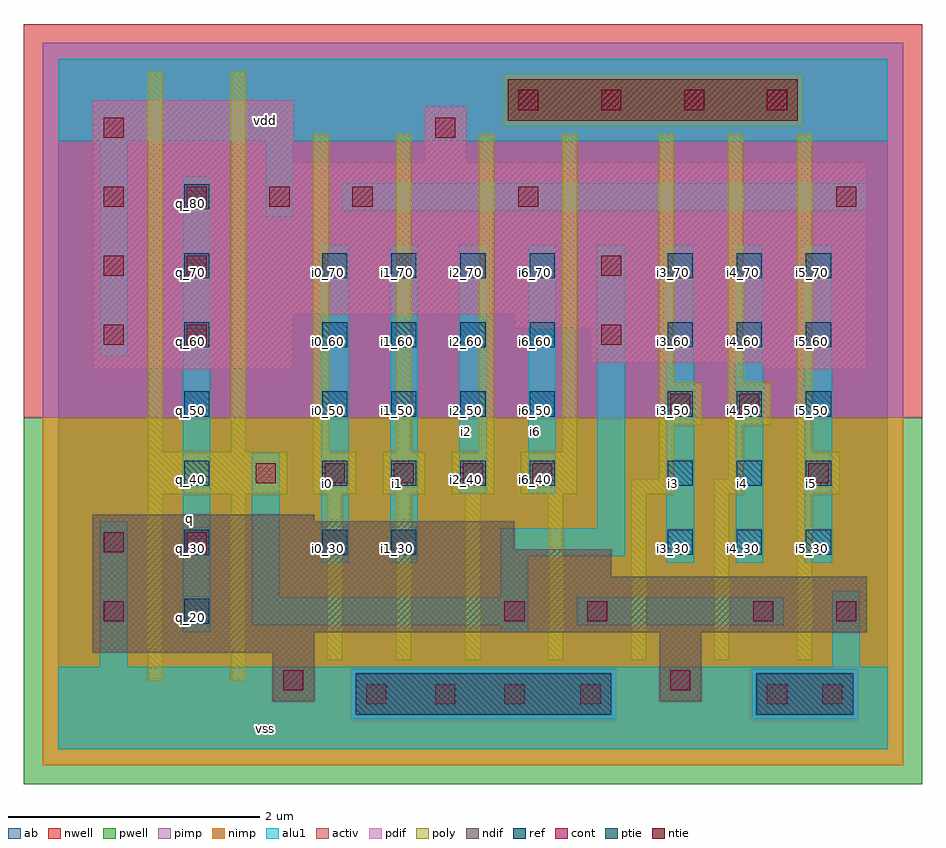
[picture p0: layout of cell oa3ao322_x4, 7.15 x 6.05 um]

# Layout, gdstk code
import gdstk
lib = gdstk.Library(unit=1e-6, precision=2.5e-09)
def R(c, l, rs):  # rectangles x0, y0, x1, y1
    for r in rs: c.add(gdstk.rectangle(r[:2], r[2:], *l))
def A(c, l, x, y, w, h, nx, ny, dx, dy):  # array of equal rectangles
    R(c, l, [(x+i*dx, y+j*dy, x+i*dx+w, y+j*dy+h) for i in range(nx) for j in range(ny)])
ndif = (3, 0)
pdif = (4, 0)
ntie = (5, 0)
ptie = (6, 0)
ref = (24, 0)
cont = (25, 0)
pwell = (41, 0)
nwell = (42, 0)
activ = (43, 0)
pimp = (44, 0)
nimp = (45, 0)
poly = (46, 0)
alu1 = (49, 0)
ab = (63, 0)

oa3ao322_x4 = lib.new_cell('oa3ao322_x4')
R(oa3ao322_x4, ndif, [(1.705,0.385,2.035,0.77), (4.785,0.385,5.115,0.935), (0.275,0.77,2.035,0.935), (0.275,0.935,6.435,1.375), (0.275,1.375,4.4,1.595), (0.275,1.595,3.63,1.815), (0.275,1.815,2.035,1.87)])
R(oa3ao322_x4, pdif, [(0.275,3.025,1.87,3.465), (5.61,3.025,6.435,3.08), (4.235,3.08,6.435,3.355), (3.63,3.355,6.435,3.465), (0.275,3.465,6.435,4.675), (0.275,4.675,1.87,5.17), (2.915,4.675,3.245,5.115)])
R(oa3ao322_x4, ntie, [(3.575,5.005,5.885,5.335)])
R(oa3ao322_x4, ptie, [(2.365,0.275,4.4,0.605), (5.555,0.275,6.325,0.605)])
A(oa3ao322_x4, ref, 1, 1, 0.2, 0.2, 1, 7, 0, 0.55)
A(oa3ao322_x4, ref, 4.85, 1.55, 0.2, 0.2, 3, 5, 0.55, 0.55)
A(oa3ao322_x4, ref, 2.1, 2.1, 0.2, 0.2, 4, 4, 0.55, 0.55)
R(oa3ao322_x4, ref, [(2.1,1.55,2.3,1.75), (2.65,1.55,2.85,1.75)])
A(oa3ao322_x4, cont, 2.45, 0.36, 0.16, 0.16, 3, 1, 0.55, 0)
A(oa3ao322_x4, cont, 1.57, 2.12, 0.16, 0.16, 5, 1, 0.55, 0)
A(oa3ao322_x4, cont, 0.36, 4.32, 0.16, 0.16, 4, 1, 0.66, 0)
A(oa3ao322_x4, cont, 3.66, 5.09, 0.16, 0.16, 4, 1, 0.66, 0)
R(oa3ao322_x4, cont, [(4.155,0.36,4.315,0.52), (5.64,0.36,5.8,0.52), (6.08,0.36,6.24,0.52), (1.79,0.47,1.95,0.63), (4.87,0.47,5.03,0.63), (0.36,1.02,0.52,1.18), (3.55,1.02,3.71,1.18), (4.21,1.02,4.37,1.18), (5.53,1.02,5.69,1.18), (6.19,1.02,6.35,1.18), (0.36,1.57,0.52,1.73), (1.02,1.57,1.18,1.73), (5.97,2.12,6.13,2.28), (4.87,2.67,5.03,2.83), (5.42,2.67,5.58,2.83), (0.36,3.22,0.52,3.38), (1.02,3.22,1.18,3.38), (4.32,3.22,4.48,3.38), (0.36,3.77,0.52,3.93), (1.02,3.77,1.18,3.93), (4.32,3.77,4.48,3.93), (3.66,4.32,3.82,4.48), (6.19,4.32,6.35,4.48), (0.36,4.87,0.52,5.03), (3,4.87,3.16,5.03)])
R(oa3ao322_x4, pwell, [(-0.275,-0.275,6.875,2.64)])
R(oa3ao322_x4, nwell, [(-0.275,2.64,6.875,5.775)])
R(oa3ao322_x4, activ, [(2.365,0.275,4.4,0.605), (5.555,0.275,6.325,0.605), (1.705,0.385,2.035,0.77), (4.785,0.385,5.115,0.935), (0.275,0.77,2.035,0.935), (0.275,0.935,6.435,1.375), (0.275,1.375,4.4,1.595), (0.275,1.595,3.63,1.815), (0.275,1.815,2.035,1.87), (0.275,3.025,1.87,3.465), (5.61,3.025,6.435,3.08), (4.235,3.08,6.435,3.355), (3.63,3.355,6.435,3.465), (0.275,3.465,6.435,4.675), (0.275,4.675,1.87,5.17), (2.915,4.675,3.245,5.115), (3.575,5.005,5.885,5.335)])
R(oa3ao322_x4, pimp, [(2.325,0.235,4.44,0.645), (5.515,0.235,6.365,0.645), (-0.125,2.64,6.725,4.965), (-0.125,4.965,3.535,5.375), (5.925,4.965,6.725,5.375), (-0.125,5.375,6.725,5.625)])
R(oa3ao322_x4, nimp, [(-0.125,-0.125,6.725,0.235), (-0.125,0.235,2.325,0.645), (4.44,0.235,5.515,0.645), (6.365,0.235,6.725,0.645), (-0.125,0.645,6.725,2.64), (3.535,4.965,5.925,5.375)])
A(oa3ao322_x4, poly, 2.14, 0.71, 0.12, 1.32, 3, 1, 0.55, 0)
A(oa3ao322_x4, poly, 3.9, 0.71, 0.12, 1.32, 4, 1, 0.66, 0)
A(oa3ao322_x4, poly, 2.03, 2.03, 0.34, 0.34, 3, 1, 0.55, 0)
A(oa3ao322_x4, poly, 2.03, 2.37, 0.12, 2.53, 4, 1, 0.66, 0)
R(oa3ao322_x4, poly, [(0.71,0.545,0.83,2.03), (1.37,0.545,1.49,2.03), (0.71,2.03,1.82,2.37), (3.68,2.03,4.13,2.37), (4.56,2.03,4.9,2.15), (5.22,2.03,5.45,2.15), (5.88,2.03,6.22,2.37), (4.78,2.15,4.9,2.58), (5.33,2.15,5.45,2.58), (0.71,2.37,0.83,5.395), (1.37,2.37,1.49,5.395), (5.88,2.37,6,4.9), (4.78,2.58,5.12,2.92), (5.33,2.58,5.67,2.92), (4.78,2.92,4.9,4.9), (5.33,2.92,5.45,4.9)])
A(oa3ao322_x4, alu1, 4.84, 1.485, 0.22, 2.53, 3, 1, 0.55, 0)
R(oa3ao322_x4, alu1, [(0,0,6.6,0.66), (0.33,0.66,0.55,1.815), (6.16,0.66,6.38,1.265), (0.99,0.935,1.21,4.565), (3.52,0.935,3.74,0.99), (1.54,0.99,3.74,1.21), (4.125,0.99,5.775,1.21), (1.54,1.21,1.76,2.365), (3.52,1.21,3.74,1.54), (2.09,1.485,2.31,4.015), (2.64,1.485,2.86,4.015), (3.52,1.54,4.51,1.76), (4.29,1.76,4.51,4.015), (3.19,2.035,3.41,4.015), (3.74,2.035,3.96,4.015), (0.33,3.135,0.55,4.84), (1.65,4.235,1.87,4.84), (2.255,4.29,6.435,4.51), (0,4.84,6.6,5.5)])
R(oa3ao322_x4, ab, [(0,0,6.6,5.5)])
oa3ao322_x4.add(gdstk.Label('vss', (1.65,0.165), layer=49, texttype=0))
oa3ao322_x4.add(gdstk.Label('i5', (5.995,2.1175), layer=49, texttype=0))
oa3ao322_x4.add(gdstk.Label('i4', (5.445,2.1175), layer=49, texttype=0))
oa3ao322_x4.add(gdstk.Label('i3', (4.895,2.1175), layer=49, texttype=0))
oa3ao322_x4.add(gdstk.Label('i6', (3.795,2.53), layer=49, texttype=0))
oa3ao322_x4.add(gdstk.Label('i2', (3.245,2.53), layer=49, texttype=0))
oa3ao322_x4.add(gdstk.Label('i1', (2.695,2.1175), layer=49, texttype=0))
oa3ao322_x4.add(gdstk.Label('i0', (2.145,2.1175), layer=49, texttype=0))
oa3ao322_x4.add(gdstk.Label('q', (1.045,1.8425), layer=49, texttype=0))
oa3ao322_x4.add(gdstk.Label('vdd', (1.65,5.005), layer=49, texttype=0))
oa3ao322_x4.add(gdstk.Label('i6_70', (3.8,3.8), layer=24, texttype=0))
oa3ao322_x4.add(gdstk.Label('i1_30', (2.7,1.6), layer=24, texttype=0))
oa3ao322_x4.add(gdstk.Label('i1_40', (2.7,2.15), layer=24, texttype=0))
oa3ao322_x4.add(gdstk.Label('i1_50', (2.7,2.7), layer=24, texttype=0))
oa3ao322_x4.add(gdstk.Label('i1_60', (2.7,3.25), layer=24, texttype=0))
oa3ao322_x4.add(gdstk.Label('i1_70', (2.7,3.8), layer=24, texttype=0))
oa3ao322_x4.add(gdstk.Label('q_70', (1.05,3.8), layer=24, texttype=0))
oa3ao322_x4.add(gdstk.Label('i2_40', (3.25,2.15), layer=24, texttype=0))
oa3ao322_x4.add(gdstk.Label('i3_40', (4.9,2.15), layer=24, texttype=0))
oa3ao322_x4.add(gdstk.Label('i3_50', (4.9,2.7), layer=24, texttype=0))
oa3ao322_x4.add(gdstk.Label('i2_50', (3.25,2.7), layer=24, texttype=0))
oa3ao322_x4.add(gdstk.Label('i2_60', (3.25,3.25), layer=24, texttype=0))
oa3ao322_x4.add(gdstk.Label('i2_70', (3.25,3.8), layer=24, texttype=0))
oa3ao322_x4.add(gdstk.Label('i6_40', (3.8,2.15), layer=24, texttype=0))
oa3ao322_x4.add(gdstk.Label('i6_50', (3.8,2.7), layer=24, texttype=0))
oa3ao322_x4.add(gdstk.Label('i6_60', (3.8,3.25), layer=24, texttype=0))
oa3ao322_x4.add(gdstk.Label('i4_30', (5.45,1.6), layer=24, texttype=0))
oa3ao322_x4.add(gdstk.Label('i4_40', (5.45,2.15), layer=24, texttype=0))
oa3ao322_x4.add(gdstk.Label('i4_50', (5.45,2.7), layer=24, texttype=0))
oa3ao322_x4.add(gdstk.Label('i4_60', (5.45,3.25), layer=24, texttype=0))
oa3ao322_x4.add(gdstk.Label('i4_70', (5.45,3.8), layer=24, texttype=0))
oa3ao322_x4.add(gdstk.Label('i5_30', (6,1.6), layer=24, texttype=0))
oa3ao322_x4.add(gdstk.Label('i5_40', (6,2.15), layer=24, texttype=0))
oa3ao322_x4.add(gdstk.Label('i3_30', (4.9,1.6), layer=24, texttype=0))
oa3ao322_x4.add(gdstk.Label('i5_50', (6,2.7), layer=24, texttype=0))
oa3ao322_x4.add(gdstk.Label('i5_60', (6,3.25), layer=24, texttype=0))
oa3ao322_x4.add(gdstk.Label('i5_70', (6,3.8), layer=24, texttype=0))
oa3ao322_x4.add(gdstk.Label('i0_30', (2.15,1.6), layer=24, texttype=0))
oa3ao322_x4.add(gdstk.Label('i0_40', (2.15,2.15), layer=24, texttype=0))
oa3ao322_x4.add(gdstk.Label('i0_50', (2.15,2.7), layer=24, texttype=0))
oa3ao322_x4.add(gdstk.Label('i0_60', (2.15,3.25), layer=24, texttype=0))
oa3ao322_x4.add(gdstk.Label('i3_60', (4.9,3.25), layer=24, texttype=0))
oa3ao322_x4.add(gdstk.Label('q_60', (1.05,3.25), layer=24, texttype=0))
oa3ao322_x4.add(gdstk.Label('q_50', (1.05,2.7), layer=24, texttype=0))
oa3ao322_x4.add(gdstk.Label('q_40', (1.05,2.15), layer=24, texttype=0))
oa3ao322_x4.add(gdstk.Label('q_30', (1.05,1.6), layer=24, texttype=0))
oa3ao322_x4.add(gdstk.Label('q_20', (1.05,1.05), layer=24, texttype=0))
oa3ao322_x4.add(gdstk.Label('q_80', (1.05,4.35), layer=24, texttype=0))
oa3ao322_x4.add(gdstk.Label('i0_70', (2.15,3.8), layer=24, texttype=0))
oa3ao322_x4.add(gdstk.Label('i3_70', (4.9,3.8), layer=24, texttype=0))

lib.write_gds('oa3ao322_x4.gds')
